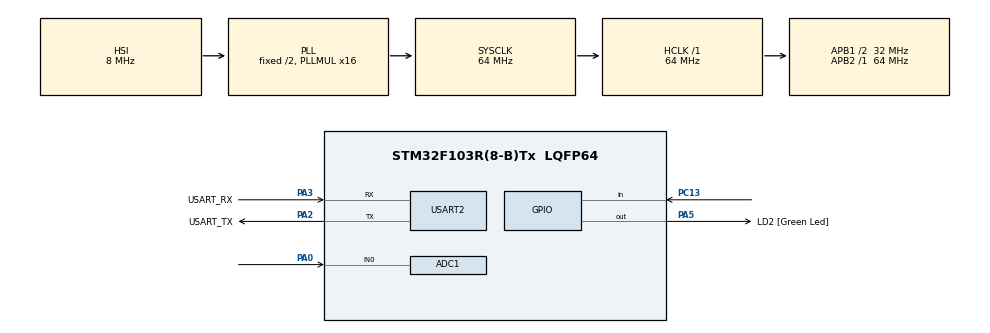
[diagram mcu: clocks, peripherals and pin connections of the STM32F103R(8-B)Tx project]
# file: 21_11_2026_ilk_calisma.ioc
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ADC1.Channel-1\#ChannelRegularConversion=ADC_CHANNEL_0
ADC1.NbrOfConversionFlag=1
ADC1.Rank-1\#ChannelRegularConversion=1
ADC1.SamplingTime-1\#ChannelRegularConversion=ADC_SAMPLETIME_1CYCLE_5
ADC1.master=1
Mcu.Family=STM32F1
Mcu.Name=STM32F103R(8-B)Tx
Mcu.Package=LQFP64
NVIC.PriorityGroup=NVIC_PRIORITYGROUP_4
PA0-WKUP.Signal=ADCx_IN0
PA13.GPIO_Label=TMS
PA13.Mode=Serial_Wire
PA13.Signal=SYS_JTMS-SWDIO
PA14.GPIO_Label=TCK
PA14.Mode=Serial_Wire
PA14.Signal=SYS_JTCK-SWCLK
PA2.GPIO_Label=USART_TX
PA2.GPIO_Mode=GPIO_MODE_AF_PP
PA2.GPIO_PuPd=GPIO_NOPULL
PA2.GPIO_Speed=GPIO_SPEED_FREQ_LOW
PA2.Mode=Asynchronous
PA2.Signal=USART2_TX
PA3.GPIO_Label=USART_RX
PA3.GPIO_Mode=GPIO_MODE_AF_PP
PA3.GPIO_PuPd=GPIO_NOPULL
PA3.GPIO_Speed=GPIO_SPEED_FREQ_LOW
PA3.Mode=Asynchronous
PA3.Signal=USART2_RX
PA5.GPIO_Label=LD2 [Green Led]
PA5.GPIO_ModeDefaultOutputPP=GPIO_MODE_OUTPUT_PP
PA5.GPIO_PuPd=GPIO_NOPULL
PA5.GPIO_Speed=GPIO_SPEED_FREQ_LOW
PA5.Signal=GPIO_Output
PB3.GPIO_Label=SWO
PB3.Signal=SYS_JTDO-TRACESWO
PC13-TAMPER-RTC.Signal=GPIO_Input
PC14-OSC32_IN.Mode=LSE-External-Oscillator
PC14-OSC32_IN.Signal=RCC_OSC32_IN
PC15-OSC32_OUT.Mode=LSE-External-Oscillator
PC15-OSC32_OUT.Signal=RCC_OSC32_OUT
PD0-OSC_IN.Mode=HSE-External-Clock-Source
PD0-OSC_IN.Signal=RCC_OSC_IN
PD1-OSC_OUT.Mode=HSE-External-Clock-Source
PD1-OSC_OUT.Signal=RCC_OSC_OUT
ProjectManager.HeapSize=0x200
ProjectManager.StackSize=0x400
ProjectManager.TargetToolchain=STM32CubeIDE
RCC.AHBFreq_Value=64000000
RCC.APB1CLKDivider=RCC_HCLK_DIV2
RCC.APB1Freq_Value=32000000
RCC.APB1TimFreq_Value=64000000
RCC.APB2Freq_Value=64000000
RCC.APB2TimFreq_Value=64000000
RCC.HCLKFreq_Value=64000000
RCC.PLLMUL=RCC_PLL_MUL16
RCC.RTCClockSelection=RCC_RTCCLKSOURCE_LSE
RCC.SYSCLKFreq_VALUE=64000000
RCC.SYSCLKSource=RCC_SYSCLKSOURCE_PLLCLK
RCC.USBFreq_Value=64000000
SH.ADCx_IN0.0=ADC1_IN0,IN0
USART2.VirtualMode=VM_ASYNC
board=NUCLEO-F103RB

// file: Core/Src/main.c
/* USER CODE BEGIN Header */
/**
  ******************************************************************************
  * @file           : main.c
  * @brief          : Main program body
  ******************************************************************************
  * @attention
  *
  * Copyright (c) 2026 STMicroelectronics.
  * All rights reserved.
  *
  * This software is licensed under terms that can be found in the LICENSE file
  * in the root directory of this software component.
  * If no LICENSE file comes with this software, it is provided AS-IS.
  *
  ******************************************************************************
  */
/* USER CODE END Header */
#include "main.h"

ADC_HandleTypeDef hadc1;

UART_HandleTypeDef huart2;

/* USER CODE BEGIN PV */
uint16_t adc_ham_deger = 0;
float direnc_voltaji_V = 0.0f;
float devre_akimi_mA = 0.0f;
float toplam_direnc_Ohm = 0.0f;
float sadece_pot_direnci_Ohm = 0.0f;

const float SABIT_DIRENC_OHM = 20000.0f;
const float BESLEME_VOLTAJI = 3.3f;
const float ESIK_VOLTAJ = 2.64f;
/* USER CODE END PV */

void SystemClock_Config(void);
static void MX_GPIO_Init(void);
static void MX_USART2_UART_Init(void);
static void MX_ADC1_Init(void);

int main(void)
{

  /* MCU Configuration--------------------------------------------------------*/

  /* Reset of all peripherals, Initializes the Flash interface and the Systick. */
  HAL_Init();

  /* Configure the system clock */
  SystemClock_Config();

  /* Initialize all configured peripherals */
  MX_GPIO_Init();
  MX_USART2_UART_Init();
  MX_ADC1_Init();

  /* Infinite loop */
    while (1)
    {

    /* USER CODE BEGIN 3 */
    	    HAL_ADC_Start(&hadc1);

    	    if (HAL_ADC_PollForConversion(&hadc1, 10) == HAL_OK)
    	    {
    	        adc_ham_deger = HAL_ADC_GetValue(&hadc1);

    	        direnc_voltaji_V = ((float)adc_ham_deger / 4095.0f) * BESLEME_VOLTAJI;

    	        float akim_Amper = direnc_voltaji_V / SABIT_DIRENC_OHM;
    	        devre_akimi_mA = akim_Amper * 1000.0f;

    	        if (akim_Amper > 0.000001f)
    	        {
    	            toplam_direnc_Ohm = BESLEME_VOLTAJI / akim_Amper;
    	            sadece_pot_direnci_Ohm = toplam_direnc_Ohm - SABIT_DIRENC_OHM;
    	        }
    	        else
    	        {
    	            toplam_direnc_Ohm = 999999.0f;
    	            sadece_pot_direnci_Ohm = 999999.0f;
    	        }

    	        if (direnc_voltaji_V > ESIK_VOLTAJ)
    	        {
    	            HAL_GPIO_WritePin(GPIOA, GPIO_PIN_5, GPIO_PIN_SET);
    	        }
    	        else
    	        {
    	            HAL_GPIO_WritePin(GPIOA, GPIO_PIN_5, GPIO_PIN_RESET);
    	        }
    	    }

    	    HAL_ADC_Stop(&hadc1);
    	    HAL_Delay(50);
    }
  /* USER CODE END 3 */
}

void SystemClock_Config(void)
{
  RCC_OscInitTypeDef RCC_OscInitStruct = {0};
  RCC_ClkInitTypeDef RCC_ClkInitStruct = {0};
  RCC_PeriphCLKInitTypeDef PeriphClkInit = {0};

  /** Initializes the RCC Oscillators according to the specified parameters
  * in the RCC_OscInitTypeDef structure.
  */
  RCC_OscInitStruct.OscillatorType = RCC_OSCILLATORTYPE_HSI;
  RCC_OscInitStruct.HSIState = RCC_HSI_ON;
  RCC_OscInitStruct.HSICalibrationValue = RCC_HSICALIBRATION_DEFAULT;
  RCC_OscInitStruct.PLL.PLLState = RCC_PLL_ON;
  RCC_OscInitStruct.PLL.PLLSource = RCC_PLLSOURCE_HSI_DIV2;
  RCC_OscInitStruct.PLL.PLLMUL = RCC_PLL_MUL16;
  if (HAL_RCC_OscConfig(&RCC_OscInitStruct) != HAL_OK)
  {
    Error_Handler();
  }

  /** Initializes the CPU, AHB and APB buses clocks
  */
  RCC_ClkInitStruct.ClockType = RCC_CLOCKTYPE_HCLK|RCC_CLOCKTYPE_SYSCLK
                              |RCC_CLOCKTYPE_PCLK1|RCC_CLOCKTYPE_PCLK2;
  RCC_ClkInitStruct.SYSCLKSource = RCC_SYSCLKSOURCE_PLLCLK;
  RCC_ClkInitStruct.AHBCLKDivider = RCC_SYSCLK_DIV1;
  RCC_ClkInitStruct.APB1CLKDivider = RCC_HCLK_DIV2;
  RCC_ClkInitStruct.APB2CLKDivider = RCC_HCLK_DIV1;

  if (HAL_RCC_ClockConfig(&RCC_ClkInitStruct, FLASH_LATENCY_2) != HAL_OK)
  {
    Error_Handler();
  }
  PeriphClkInit.PeriphClockSelection = RCC_PERIPHCLK_ADC;
  PeriphClkInit.AdcClockSelection = RCC_ADCPCLK2_DIV2;
  if (HAL_RCCEx_PeriphCLKConfig(&PeriphClkInit) != HAL_OK)
  {
    Error_Handler();
  }
}

static void MX_ADC1_Init(void)
{

  ADC_ChannelConfTypeDef sConfig = {0};

  /** Common config
  */
  hadc1.Instance = ADC1;
  hadc1.Init.ScanConvMode = ADC_SCAN_DISABLE;
  hadc1.Init.ContinuousConvMode = DISABLE;
  hadc1.Init.DiscontinuousConvMode = DISABLE;
  hadc1.Init.ExternalTrigConv = ADC_SOFTWARE_START;
  hadc1.Init.DataAlign = ADC_DATAALIGN_RIGHT;
  hadc1.Init.NbrOfConversion = 1;
  if (HAL_ADC_Init(&hadc1) != HAL_OK)
  {
    Error_Handler();
  }

  /** Configure Regular Channel
  */
  sConfig.Channel = ADC_CHANNEL_0;
  sConfig.Rank = ADC_REGULAR_RANK_1;
  sConfig.SamplingTime = ADC_SAMPLETIME_1CYCLE_5;
  if (HAL_ADC_ConfigChannel(&hadc1, &sConfig) != HAL_OK)
  {
    Error_Handler();
  }

}

static void MX_USART2_UART_Init(void)
{

  huart2.Instance = USART2;
  huart2.Init.BaudRate = 115200;
  huart2.Init.WordLength = UART_WORDLENGTH_8B;
  huart2.Init.StopBits = UART_STOPBITS_1;
  huart2.Init.Parity = UART_PARITY_NONE;
  huart2.Init.Mode = UART_MODE_TX_RX;
  huart2.Init.HwFlowCtl = UART_HWCONTROL_NONE;
  huart2.Init.OverSampling = UART_OVERSAMPLING_16;
  if (HAL_UART_Init(&huart2) != HAL_OK)
  {
    Error_Handler();
  }

}

static void MX_GPIO_Init(void)
{
  GPIO_InitTypeDef GPIO_InitStruct = {0};

  /* GPIO Ports Clock Enable */
  __HAL_RCC_GPIOC_CLK_ENABLE();
  __HAL_RCC_GPIOD_CLK_ENABLE();
  __HAL_RCC_GPIOA_CLK_ENABLE();
  __HAL_RCC_GPIOB_CLK_ENABLE();

  /*Configure GPIO pin Output Level */
  HAL_GPIO_WritePin(LD2_GPIO_Port, LD2_Pin, GPIO_PIN_RESET);

  /*Configure GPIO pin : PC13 */
  GPIO_InitStruct.Pin = GPIO_PIN_13;
  GPIO_InitStruct.Mode = GPIO_MODE_INPUT;
  GPIO_InitStruct.Pull = GPIO_NOPULL;
  HAL_GPIO_Init(GPIOC, &GPIO_InitStruct);

  /*Configure GPIO pin : LD2_Pin */
  GPIO_InitStruct.Pin = LD2_Pin;
  GPIO_InitStruct.Mode = GPIO_MODE_OUTPUT_PP;
  GPIO_InitStruct.Pull = GPIO_NOPULL;
  GPIO_InitStruct.Speed = GPIO_SPEED_FREQ_LOW;
  HAL_GPIO_Init(LD2_GPIO_Port, &GPIO_InitStruct);

}

void Error_Handler(void)
{
  __disable_irq();
  while (1)
  {
  }
}
